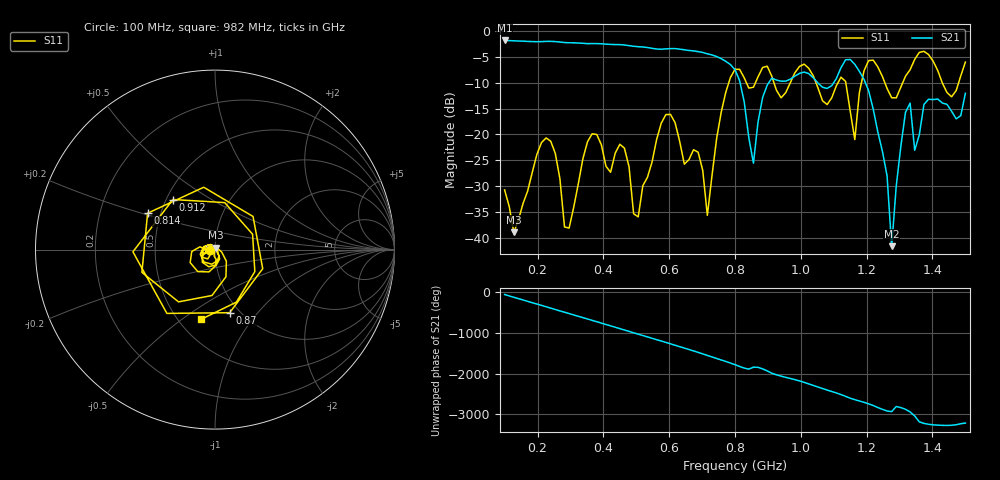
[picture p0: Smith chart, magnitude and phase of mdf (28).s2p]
! NanoVNA-App
! Date: 2025-09-25 15:38:39
! Start: 100MHz Stop: 1,5GHz Points: 101
! S-Parameter data: F S11 S21 S12 S22
# Hz S RI R 50
!  Frequency  S11_Real  S11_Imag  S21_Real  S21_Imag  S12_Real  S12_Imag  S22_Real  S22_Imag
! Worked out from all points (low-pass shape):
!   101 points, 100 MHz to 1.5 GHz, reference 50 ohm
!   highest |S21| = -1.80 dB at 100 MHz (marker M1); lowest = -41.6 dB at 1.276 GHz (marker M2)
!   |S21| within 3 dB of the highest: start of sweep to 739.4 MHz
!   lowest |S11| = -39.0 dB at 128 MHz (marker M3), VSWR 1.02, Z = 50.3 + j1.08 ohm
!   |S11| at or under -10 dB: start of sweep to 781 MHz; 918.4 MHz to 968.1 MHz (49.63 MHz wide, 5.26 % of centre); 1.046 GHz to 1.113 GHz (66.74 MHz wide, 6.18 % of centre) (the widest 3 of 7)
!   S12 and S22 are empty: the file has one direction only
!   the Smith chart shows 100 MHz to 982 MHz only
!   S11 on the Smith chart (normalised r, x): 100 MHz: 0.94, -0.01; 814 MHz: 0.42, +0.21; 870 MHz: 0.90, -0.73; 912 MHz: 0.54, +0.35; 982 MHz: 0.64, -0.59
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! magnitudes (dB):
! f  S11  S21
! 100 MHz  -30.8  -1.8
! 128 MHz  -39.0  -1.9
! 212 MHz  -21.6  -2.0
! 282 MHz  -37.9  -2.2
! 338 MHz  -24.7  -2.3
! 464 MHz  -22.7  -2.7
! 506 MHz  -36.0  -3.0
! 576 MHz  -17.8  -3.5
! 688 MHz  -23.4  -4.0
! 716 MHz  -35.7  -4.4
! 800 MHz  -7.4  -7.5
! 814 MHz  -7.4  -9.6
! 856 MHz  -10.9  -25.6
! 870 MHz  -8.9  -17.6
! 912 MHz  -8.8  -9.1
! 982 MHz  -8.1  -8.7
! 1.038 GHz  -8.7  -9.0
! 1.164 GHz  -21.0  -6.4
! 1.192 GHz  -7.7  -9.4
! 1.276 GHz  -12.9  -41.6
! 1.318 GHz  -8.7  -15.7
! 1.5 GHz  -6.0  -12.0
